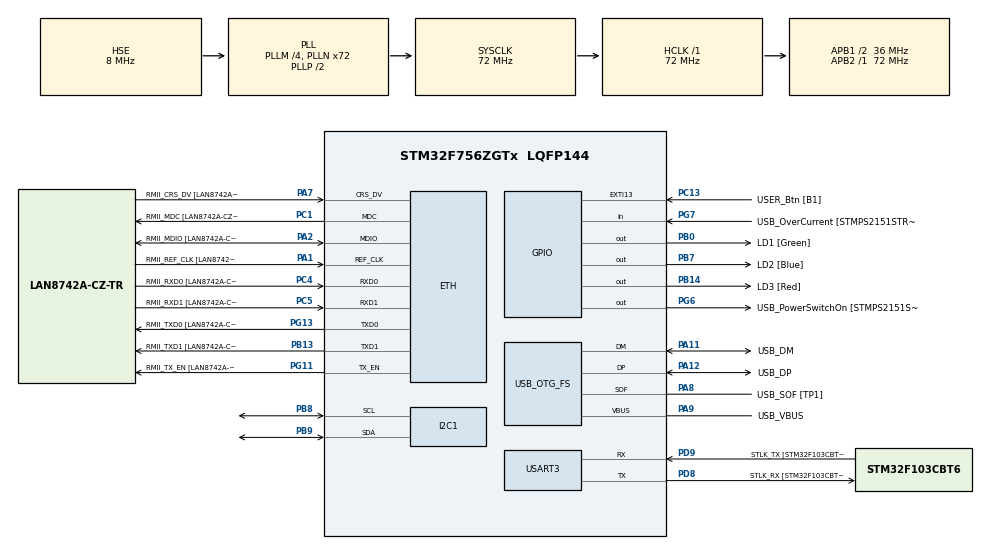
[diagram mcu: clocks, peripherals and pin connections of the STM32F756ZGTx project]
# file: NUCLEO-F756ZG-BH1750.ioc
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CORTEX_M7.default_mode_Activation=1
ETH.MediaInterface=HAL_ETH_RMII_MODE
ETH.PHY_Name=LAN8742A_PHY_ADDRESS
ETH.PHY_Value=0
ETH.PhyAddress=0
I2C1.Timing=0x00808CD2
Mcu.Family=STM32F7
Mcu.Name=STM32F756ZGTx
Mcu.Package=LQFP144
NVIC.PriorityGroup=NVIC_PRIORITYGROUP_4
PA1.GPIO_Label=RMII_REF_CLK [LAN8742A-CZ-TR_REFCLK0]
PA1.Mode=RMII
PA1.Signal=ETH_REF_CLK
PA10.GPIO_Label=USB_ID
PA10.Signal=USB_OTG_FS_ID
PA11.GPIO_Label=USB_DM
PA11.Mode=Device_Only
PA11.Signal=USB_OTG_FS_DM
PA12.GPIO_Label=USB_DP
PA12.Mode=Device_Only
PA12.Signal=USB_OTG_FS_DP
PA13.GPIO_Label=TMS
PA13.Mode=Serial_Wire
PA13.Signal=SYS_JTMS-SWDIO
PA14.GPIO_Label=TCK
PA14.Mode=Serial_Wire
PA14.Signal=SYS_JTCK-SWCLK
PA2.GPIO_Label=RMII_MDIO [LAN8742A-CZ-TR_MDIO]
PA2.Mode=RMII
PA2.Signal=ETH_MDIO
PA7.GPIO_Label=RMII_CRS_DV [LAN8742A-CZ-TR_CRS_DV]
PA7.Mode=RMII
PA7.Signal=ETH_CRS_DV
PA8.GPIO_Label=USB_SOF [TP1]
PA8.Mode=Activate_SOF_FS
PA8.Signal=USB_OTG_FS_SOF
PA9.GPIO_Label=USB_VBUS
PA9.Mode=Activate_VBUS
PA9.Signal=USB_OTG_FS_VBUS
PB0.GPIO_Label=LD1 [Green]
PB0.Signal=GPIO_Output
PB13.GPIO_Label=RMII_TXD1 [LAN8742A-CZ-TR_TXD1]
PB13.Mode=RMII
PB13.Signal=ETH_TXD1
PB14.GPIO_Label=LD3 [Red]
PB14.Signal=GPIO_Output
PB3.GPIO_Label=SW0
PB3.Signal=SYS_JTDO-SWO
PB7.GPIO_Label=LD2 [Blue]
PB7.Signal=GPIO_Output
PB8.GPIO_Mode=GPIO_MODE_AF_OD
PB8.GPIO_Pu=GPIO_NOPULL
PB8.GPIO_Speed=GPIO_SPEED_FREQ_VERY_HIGH
PB8.Mode=I2C
PB8.Signal=I2C1_SCL
PB9.GPIO_Mode=GPIO_MODE_AF_OD
PB9.GPIO_Pu=GPIO_NOPULL
PB9.GPIO_Speed=GPIO_SPEED_FREQ_VERY_HIGH
PB9.Mode=I2C
PB9.Signal=I2C1_SDA
PC1.GPIO_Label=RMII_MDC [LAN8742A-CZ-TR_MDC]
PC1.Mode=RMII
PC1.Signal=ETH_MDC
PC13.GPIO_Label=USER_Btn [B1]
PC13.Signal=GPXTI13
PC14/OSC32_IN.Mode=LSE-External-Oscillator
PC14/OSC32_IN.Signal=RCC_OSC32_IN
PC15/OSC32_OUT.Mode=LSE-External-Oscillator
PC15/OSC32_OUT.Signal=RCC_OSC32_OUT
PC4.GPIO_Label=RMII_RXD0 [LAN8742A-CZ-TR_RXD0]
PC4.Mode=RMII
PC4.Signal=ETH_RXD0
PC5.GPIO_Label=RMII_RXD1 [LAN8742A-CZ-TR_RXD1]
PC5.Mode=RMII
PC5.Signal=ETH_RXD1
PD8.GPIO_Label=STLK_RX [STM32F103CBT6_PA3]
PD8.Mode=Asynchronous
PD8.Signal=USART3_TX
PD9.GPIO_Label=STLK_TX [STM32F103CBT6_PA2]
PD9.Mode=Asynchronous
PD9.Signal=USART3_RX
PG11.GPIO_Label=RMII_TX_EN [LAN8742A-CZ-TR_TXEN]
PG11.Mode=RMII
PG11.Signal=ETH_TX_EN
PG13.GPIO_Label=RMII_TXD0 [LAN8742A-CZ-TR_TXD0]
PG13.Mode=RMII
PG13.Signal=ETH_TXD0
PG6.GPIO_Label=USB_PowerSwitchOn [STMPS2151STR_EN]
PG6.Signal=GPIO_Output
PG7.GPIO_Label=USB_OverCurrent [STMPS2151STR_FAULT]
PG7.Signal=GPIO_Input
PH0/OSC_IN.GPIO_Label=MCO [STM32F103CBT6_PA8]
PH0/OSC_IN.Mode=HSE-External-Clock-Source
PH0/OSC_IN.Signal=RCC_OSC_IN
PH1/OSC_OUT.Mode=HSE-External-Clock-Source
PH1/OSC_OUT.Signal=RCC_OSC_OUT
ProjectManager.HeapSize=0x200
ProjectManager.StackSize=0x400
ProjectManager.TargetToolchain=STM32CubeIDE
RCC.48MHZClocksFreq_Value=24000000
RCC.AHBFreq_Value=72000000
RCC.APB1CLKDivider=RCC_HCLK_DIV2
RCC.APB1Freq_Value=36000000
RCC.APB1TimFreq_Value=72000000
RCC.APB2Freq_Value=72000000
RCC.APB2TimFreq_Value=72000000
RCC.CortexFreq_Value=72000000
RCC.HCLKFreq_Value=72000000
RCC.HSE_VALUE=8000000
RCC.HSI_VALUE=16000000
RCC.PLLM=4
RCC.PLLMUL=RCC_PLL_MUL9
RCC.PLLN=72
RCC.PLLQ=3
RCC.PRESCALERUSB=RCC_USBCLKSOURCE_PLL_DIV1_5
RCC.SYSCLKFreq_VALUE=72000000
RCC.SYSCLKSource=RCC_SYSCLKSOURCE_PLLCLK
RCC.SYSCLKSourceVirtual=RCC_SYSCLKSOURCE_PLLCLK
RCC.USBFreq_Value=48000000
RCC.VCOOutputFreq_Value=144000000
USART3.VirtualMode-Asynchronous=VM_ASYNC
USB_OTG_FS.VirtualMode=Device_Only
board=NUCLEO-F756ZG

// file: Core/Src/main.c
/* USER CODE BEGIN Header */
/**
 ******************************************************************************
 * @file           : main.c
 * @brief          : Main program body
 ******************************************************************************
 * @attention
 *
 * Copyright (c) 2026 STMicroelectronics.
 * All rights reserved.
 *
 * This software is licensed under terms that can be found in the LICENSE file
 * in the root directory of this software component.
 * If no LICENSE file comes with this software, it is provided AS-IS.
 *
 ******************************************************************************
 */
/* USER CODE END Header */
#include "main.h"
#include "eth.h"
#include "i2c.h"
#include "usart.h"
#include "usb_otg.h"
#include "gpio.h"

/* USER CODE BEGIN Includes */
#include "bh1750.h"
#include <stdio.h>
#include <string.h>
/* USER CODE END Includes */

/* USER CODE BEGIN PV */
float lux;
/* USER CODE END PV */

void SystemClock_Config(void);
static void MPU_Config(void);

/* USER CODE BEGIN 0 */
BH1750_t lux_sensor;

/* przekierowanie printf na UART */
int __io_putchar(int ch) {
	HAL_UART_Transmit(&huart3, (uint8_t*) &ch, 1, HAL_MAX_DELAY);
	return ch;
}
/* USER CODE END 0 */

int main(void) {

	/* MPU Configuration--------------------------------------------------------*/
	MPU_Config();

	/* MCU Configuration--------------------------------------------------------*/

	/* Reset of all peripherals, Initializes the Flash interface and the Systick. */
	HAL_Init();

	/* Configure the system clock */
	SystemClock_Config();

	/* Initialize all configured peripherals */
	MX_GPIO_Init();
	MX_ETH_Init();
	MX_I2C1_Init();
	MX_USART3_UART_Init();
	MX_USB_OTG_FS_PCD_Init();
	/* USER CODE BEGIN 2 */
	setvbuf(stdout, NULL, _IONBF, 0);

	if (BH1750_Init(&lux_sensor, &hi2c1, BH1750_ADDR_LOW, BH1750_CONT_H_RES)
			!= HAL_OK) {
		printf("BH1750: brak odpowiedzi\r\n");
		Error_Handler();
	}
	printf("BH1750 gotowy\r\n");
	/* USER CODE END 2 */

	/* Infinite loop */
	/* USER CODE BEGIN WHILE */
	while (1) {
		if (BH1750_ReadLux(&lux_sensor, (float *)&lux) == HAL_OK) {
			printf("Natezenie: %.1f lx\r\n", lux);
		} else {
			printf("Blad odczytu I2C\r\n");
		}
		HAL_Delay(500);
		/* USER CODE END WHILE */

	}
}

void SystemClock_Config(void) {
	RCC_OscInitTypeDef RCC_OscInitStruct = { 0 };
	RCC_ClkInitTypeDef RCC_ClkInitStruct = { 0 };

	/** Configure LSE Drive Capability
	 */
	HAL_PWR_EnableBkUpAccess();

	/** Configure the main internal regulator output voltage
	 */
	__HAL_RCC_PWR_CLK_ENABLE();
	__HAL_PWR_VOLTAGESCALING_CONFIG(PWR_REGULATOR_VOLTAGE_SCALE3);

	/** Initializes the RCC Oscillators according to the specified parameters
	 * in the RCC_OscInitTypeDef structure.
	 */
	RCC_OscInitStruct.OscillatorType = RCC_OSCILLATORTYPE_HSE;
	RCC_OscInitStruct.HSEState = RCC_HSE_BYPASS;
	RCC_OscInitStruct.PLL.PLLState = RCC_PLL_ON;
	RCC_OscInitStruct.PLL.PLLSource = RCC_PLLSOURCE_HSE;
	RCC_OscInitStruct.PLL.PLLM = 4;
	RCC_OscInitStruct.PLL.PLLN = 72;
	RCC_OscInitStruct.PLL.PLLP = RCC_PLLP_DIV2;
	RCC_OscInitStruct.PLL.PLLQ = 3;
	if (HAL_RCC_OscConfig(&RCC_OscInitStruct) != HAL_OK) {
		Error_Handler();
	}

	/** Initializes the CPU, AHB and APB buses clocks
	 */
	RCC_ClkInitStruct.ClockType = RCC_CLOCKTYPE_HCLK | RCC_CLOCKTYPE_SYSCLK
			| RCC_CLOCKTYPE_PCLK1 | RCC_CLOCKTYPE_PCLK2;
	RCC_ClkInitStruct.SYSCLKSource = RCC_SYSCLKSOURCE_PLLCLK;
	RCC_ClkInitStruct.AHBCLKDivider = RCC_SYSCLK_DIV1;
	RCC_ClkInitStruct.APB1CLKDivider = RCC_HCLK_DIV2;
	RCC_ClkInitStruct.APB2CLKDivider = RCC_HCLK_DIV1;

	if (HAL_RCC_ClockConfig(&RCC_ClkInitStruct, FLASH_LATENCY_2) != HAL_OK) {
		Error_Handler();
	}
}

/* MPU Configuration */

void MPU_Config(void) {
	MPU_Region_InitTypeDef MPU_InitStruct = { 0 };

	/* Disables the MPU */
	HAL_MPU_Disable();

	/** Initializes and configures the Region and the memory to be protected
	 */
	MPU_InitStruct.Enable = MPU_REGION_ENABLE;
	MPU_InitStruct.Number = MPU_REGION_NUMBER0;
	MPU_InitStruct.BaseAddress = 0x0;
	MPU_InitStruct.Size = MPU_REGION_SIZE_4GB;
	MPU_InitStruct.SubRegionDisable = 0x87;
	MPU_InitStruct.TypeExtField = MPU_TEX_LEVEL0;
	MPU_InitStruct.AccessPermission = MPU_REGION_NO_ACCESS;
	MPU_InitStruct.DisableExec = MPU_INSTRUCTION_ACCESS_DISABLE;
	MPU_InitStruct.IsShareable = MPU_ACCESS_SHAREABLE;
	MPU_InitStruct.IsCacheable = MPU_ACCESS_NOT_CACHEABLE;
	MPU_InitStruct.IsBufferable = MPU_ACCESS_NOT_BUFFERABLE;

	HAL_MPU_ConfigRegion(&MPU_InitStruct);
	/* Enables the MPU */
	HAL_MPU_Enable(MPU_PRIVILEGED_DEFAULT);

}

void Error_Handler(void) {
	__disable_irq();
	while (1) {
	}
}
